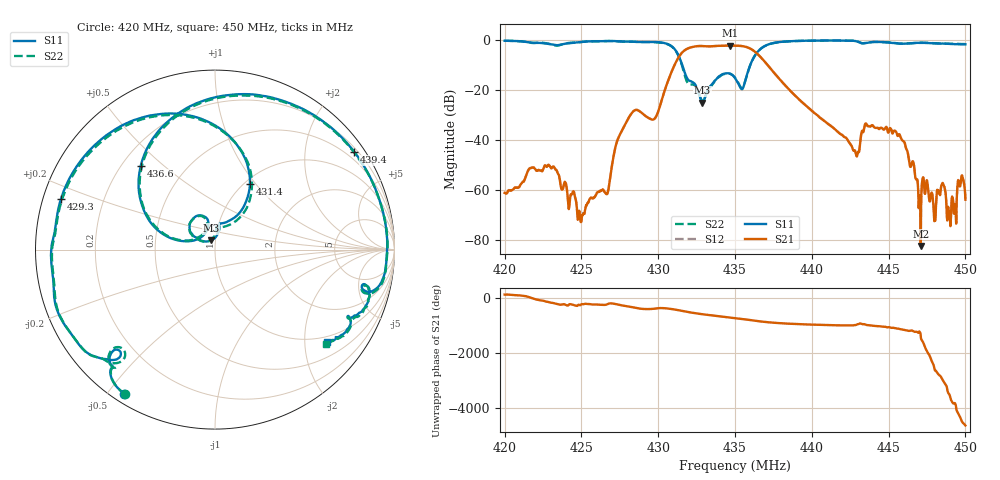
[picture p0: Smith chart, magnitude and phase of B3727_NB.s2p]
! Matrix data file written by TouchstoneData, EPCOS AG
! FILENAME: "B3727_NB.s2p"
! COMMENT: "PCB:2023 PIN:1/4 PEXT1:93.0ps PEXT2:179.5ps"
! INFO: nport=2, nfreq=1601
! DATE: "Thu Apr 16 15:55:16 2009"
! USER: "Sergey Rostovtsev"
! port | pin | signal
!  1  |  1  |  in
!  2  |  4  |  out
# MHZ S MA R 50
! freq  magS11 angS11  magS21 angS21  magS12 angS12  magS22 angS22
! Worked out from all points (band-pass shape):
!   1601 points, 420 MHz to 450 MHz, reference 50 ohm
!   highest |S21| = -2.38 dB at 434.7 MHz (marker M1); lowest = -82.3 dB at 447.1 MHz (marker M2)
!   |S21| within 3 dB of the highest: 431.5 MHz to 436.4 MHz (4.879 MHz wide, 1.12 % of centre)
!   lowest |S11| = -25.2 dB at 432.9 MHz (marker M3), VSWR 1.12, Z = 47.6 + j4.85 ohm
!   |S11| at or under -10 dB: 431.6 MHz to 436 MHz (4.444 MHz wide, 1.02 % of centre)
!   |S22| runs from -24.5 to -0.3 dB; largest |S21 - S12| = 0.0027
!   S11 on the Smith chart (normalised r, x): 420 MHz: 0.03, -0.55; 429.3 MHz: 0.05, +0.16; 431.4 MHz: 1.06, +0.93; 436.6 MHz: 0.28, +0.42; 439.4 MHz: 0.29, +3.14; 450 MHz: 0.86, -2.52
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420  0.9487 -122.3  0.0008761 140.2  0.0008734 138.3  0.949 -121.8
422.8125  0.8237 -134.9  0.003105 -126.1  0.003107 -126.3  0.8356 -135.1
425.0063  0.9 -138.8  0.0002519 146.9  0.0002408 144.0  0.8961 -138.2
426.675  0.9419 -157.0  0.0008286 144.4  0.0008359 142.6  0.9389 -156.4
428.175  0.9145 -177.9  0.03096 53.8  0.03088 53.4  0.9097 -177.2
429.2625  0.9033 161.6  0.02873 -30.6  0.02864 -31.0  0.8968 162.1
430.0125  0.8883 139.3  0.03779 3.4  0.03752 3.0  0.8781 139.6
431.4187  0.413 61.9  0.4899 -82.4  0.4879 -82.2  0.3998 59.1
432.2063  0.144 80.2  0.7115 -163.9  0.7107 -163.7  0.1279 87.2
432.8813  0.05519 113.1  0.7453 140.4  0.7444 140.5  0.05963 115.4
434.6625  0.2097 114.4  0.7604 24.0  0.759 24.1  0.2091 117.3
435  0.172 103.8  0.759 1.6  0.7581 1.7  0.1743 106.9
436.5938  0.6247 131.4  0.4736 -118.9  0.4717 -119.0  0.6236 130.5
439.4438  0.9481 35.1  0.0539 130.8  0.05388 131.1  0.9465 34.3
440.0063  0.9537 25.2  0.03796 119.4  0.03798 119.7  0.9528 24.5
442.9125  0.9259 -13.5  0.004763 114.8  0.004807 114.1  0.9283 -14.0
443.55  0.8632 -13.2  0.02103 110.0  0.02112 110.4  0.8643 -13.4
445.0125  0.8732 -24.3  0.01461 27.5  0.01461 27.4  0.8817 -25.0
447.0938  0.8603 -30.9  7.689e-05 44.4  7.601e-05 83.4  0.8693 -31.2
448.5562  0.8363 -36.7  0.001306 -145.9  0.001313 -144.1  0.8315 -37.0
448.9312  0.823 -37.8  0.0003656 101.7  0.000356 100.9  0.8247 -38.0
450  0.8065 -39.6  0.0006413 23.5  0.0006675 25.6  0.813 -40.2
